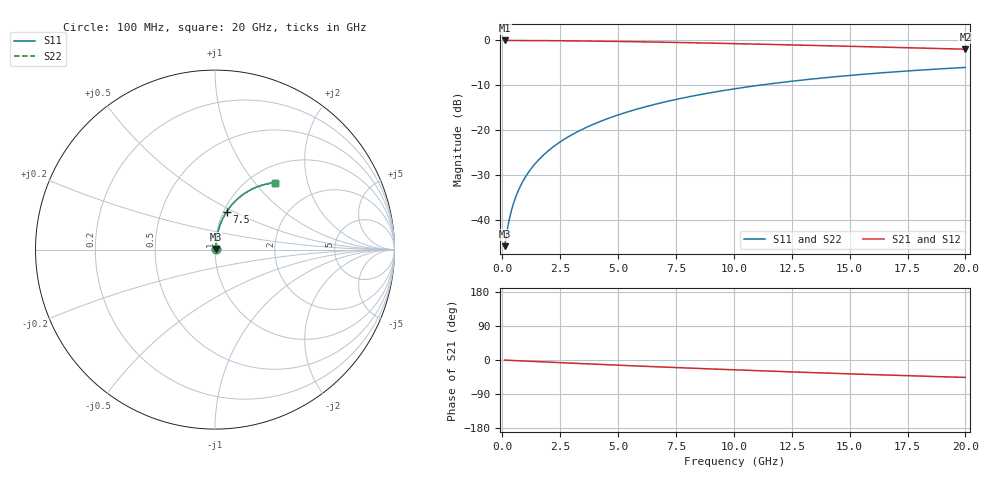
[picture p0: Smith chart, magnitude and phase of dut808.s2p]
! Touchstone file exported from HFSS 2024.1.0
!  File:  C:/UserFiles/LocalFiles/RDL_TSV_Batchsim/temp_RDL_bottom_808_1779862242.aedt
!  Generated:  02:13:03 PM May 27, 2026
!  Design:  RDL_bottom
!  Project:  temp_RDL_bottom_808_1779862242
!  Setup:  Setup1
!  Solution:  Sweep
! Variables:
!  dtsv = 10.80580581um
!  hbump = 3um
!  htsv = 51.77um
!  ldown = 586.3um
!  lrdl = 100um
!  p = 40
!  p1 = 58.34um
!  rhole = 1um
!  t = 450um
!  tdown = 3.4um
!  trdl = 3.915915916um
!  wdown = 15.34um
!  wrdl = 20um
# GHz S MA R 50.000000
! Terminal data exported
! Port[1] = RDL1_T1
! Port[2] = RDL1_T2
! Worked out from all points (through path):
!   200 points, 100 MHz to 20 GHz, reference 50 ohm
!   highest |S21| = -0.04 dB at 100 MHz (marker M1); lowest = -2.0 dB at 20 GHz (marker M2)
!   group delay of S21, straight-line fit = 6.37 ps
!   lowest |S11| = -45.8 dB at 100 MHz (marker M3), VSWR 1.01, Z = 50.4 + j0.311 ohm
!   |S11| at or under -10 dB: start of sweep to 11.1 GHz
!   |S22| runs from -45.8 to -6.0 dB; largest |S21 - S12| = 4.5e-15
!   S11 on the Smith chart (normalised r, x): 100 MHz: 1.01, +0.01; 7.5 GHz: 1.03, +0.46; 20 GHz: 1.28, +1.27
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0.1  0.005128 37.0  0.9959 -0.3  0.9959 -0.3  0.005128 37.0
! Gamma 0 0 0 0
! Port Impedance 50 0 50 0
0.2  0.007442 55.6  0.9958 -0.6  0.9958 -0.6  0.007442 55.6
0.3  0.01014 64.6  0.9956 -0.9  0.9956 -0.9  0.01014 64.6
0.4  0.01295 69.6  0.9955 -1.1  0.9955 -1.1  0.01295 69.6
0.5  0.0158 72.7  0.9953 -1.4  0.9953 -1.4  0.0158 72.7
0.6  0.01866 74.8  0.9951 -1.7  0.9951 -1.7  0.01866 74.8
0.8  0.02442 77.5  0.9947 -2.3  0.9947 -2.3  0.02442 77.5
1.1  0.0331 79.6  0.994 -3.1  0.994 -3.1  0.0331 79.6
1.5  0.04476 80.9  0.9928 -4.2  0.9928 -4.2  0.04476 80.9
1.8  0.05354 81.3  0.9918 -5.1  0.9918 -5.1  0.05354 81.3
2.1  0.06234 81.4  0.9906 -5.9  0.9906 -5.9  0.06234 81.4
2.7  0.08 81.2  0.9877 -7.5  0.9877 -7.5  0.08 81.2
3.5  0.1036 80.3  0.9829 -9.7  0.9829 -9.7  0.1036 80.3
4.2  0.1242 79.3  0.978 -11.6  0.978 -11.6  0.1242 79.3
5  0.1477 77.9  0.9715 -13.7  0.9715 -13.7  0.1477 77.9
6.8  0.1999 74.5  0.9545 -18.3  0.9545 -18.3  0.1999 74.4
7.5  0.2198 73.0  0.9472 -20.0  0.9472 -20.0  0.2198 73.0
8.7  0.2531 70.5  0.934 -22.9  0.934 -22.9  0.2531 70.5
10.1  0.2906 67.5  0.9178 -26.1  0.9178 -26.1  0.2905 67.5
13.4  0.3714 60.7  0.8775 -33.3  0.8775 -33.3  0.3713 60.6
16.7  0.4409 54.2  0.8364 -39.9  0.8364 -39.9  0.4407 54.2
20  0.4991 48.3  0.7962 -46.0  0.7962 -46.0  0.499 48.3
